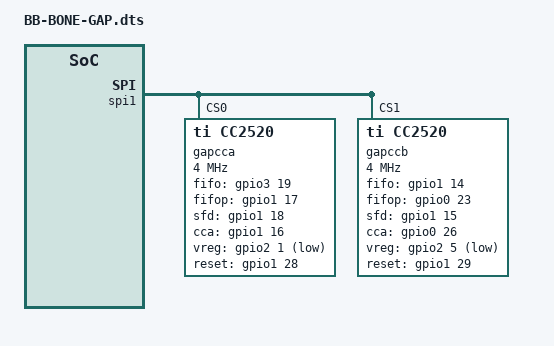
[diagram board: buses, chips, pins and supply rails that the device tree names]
/*
 * Copyright (C) 2015 Neal Jackson, Brad Campbell, LAB11
 *
 * Cape for LAB11 GAP radio platform.
 *
 * This program is free software; you can redistribute it and/or modify
 * it under the terms of the GNU General Public License version 2 as
 * published by the Free Software Foundation.
 */

/dts-v1/;
/plugin/;

/ {
   	compatible = "ti,beaglebone", "ti,beaglebone-black";

        /* identification */
        part-number = "BB-BONE-GAP";
        version = "00A0";

        /* state the resources this cape uses */
        exclusive-use =
                /* the pin header uses */

                /* CC2520 GPIO */
                "P9.14",       /* SFD0:  gpio1_18 */
                "P9.23",       /* FIFP0: gpio1_17 */
                "P9.27",       /* FIFO0: gpio3_19 */
                "P9.12",       /* RST0:  gpio1_28 */
                "P9.15",       /* CCA0:  gpio1_16 */

                "P8.15",       /* SFD1:  gpio1_15 */
                "P8.13",       /* FIFP1: gpio0_23 */
                "P8.16",       /* FIFO1: gpio1_14 */
                "P8.26",       /* RST1:  gpio1_29 */
                "P8.14",       /* CCA1:  gpio0_26 */

                /* NRF51822 GPIO */
                "P9.11",       /* RST2: uart4_rxd */
                "P9.16",       /* BIRQ: gpio1_19  */

                /* UART */
                "P9.24",       /* UART1_TXD: uart1_txd */
                "P9.26",       /* UART1_RXD: uart1_rxd */

                /* SPI0 */
                "P9.17",       /* CS:   spi0_cs0  */
                "P9.18",       /* MOSI: spi0_d1   */
                "P9.21",       /* MISO: spi0_d0   */
                "P9.22",       /* SCLK: spi0_sclk */

                /* SPI1 */
                "P9.31",    /* spi1_sclk */
                "P9.29",    /* spi1_d0 */
                "P9.30",    /* spi1_d1 */
                "P9.28",    /* spi1_cs0 */
                "P9.42",    /* spi1_cs1 */

                /* CHIP SELECT MUX */
                "P8.11",       /* SPIE0: gpio1_13 */
                "P8.12",       /* SPIE1: gpio1_12 */

                /* LEDS */
                "P8.19",       /* LED0: gpio0_22  */
                "P8.17",       /* LED1: gpio0_27  */
                "P8.18",       /* LED2: gpio2_1   */

                /* the hardware it uses */
                "uart2",
                "spi0",
                "spi1";


        fragment@0 {
            target = <&am33xx_pinmux>;
            __overlay__ {
                gap_cc2520_0_pins: pinmux_gap_cc2520_0_pins {
                    pinctrl-single,pins = <
                        0x048 0x2F /* ehrpwm1a.gpio1_18, INPUT         | MODE7 */
                        0x044 0x2F /* gpio1_17.gpio1_17, INPUT         | MODE7 */
                        0x1a4 0x2F /* gpio3_19.gpio3_19, INPUT         | MODE7 */
                        0x078 0x17 /* gpio1_28.gpio1_28, OUTPUT_PULLUP | MODE7 */
                        0x040 0x2F /* gpio1_16.gpio1_16, INPUT         | MODE7 */
                        0x08c 0x17 /* gpio2_1.gpio2_1,   OUTPUT_PULLUP | MODE7 */
                    >;
                };

                gap_cc2520_1_pins: pinmux_gap_cc2520_1_pins {
                    pinctrl-single,pins = <
                        0x03c 0x2F /* P8.15 gpio1_15.gpio1_15, INPUT         | MODE7 */
                        0x024 0x2F /* P8.13 ehrpwm2b.gpio0_23, INPUT         | MODE7 */
                        0x038 0x2F /* P8.16 gpio1_14.gpio1_14, INPUT         | MODE7 */
                        0x07c 0x17 /* P8.26 gpio1_29.gpio1_29, OUTPUT_PULLUP | MODE7 */
                        0x028 0x2F /* P8.14 gpio0_26.gpio0_26, INPUT         | MODE7 */
                        0x09c 0x17 /* P8.09 gpio2_5.gpio2_5,   OUTPUT_PULLUP | MODE7 */
                    >;
                };

                /*gap_leds_pins: pinmux_gap_leds_pins {
                    pinctrl-single,pins = <
                        0x020 0x17  /* ehrpwm2a.gpio0_22, OUTPUT_PULLUP | MODE7 *
                        0x02c 0x17  /* gpio0_27.gpio0_27, OUTPUT_PULLUP | MODE7 *
                    >;
                };

                gap_spi0_pins: pinmux_gap_spi0_pins {
                    pinctrl-single,pins = <
                        0x15c 0x10 /* i2c1_scl.spi0_cs0,   OUTPUT_PULLUP | MODE0 *
                        0x158 0x10 /* i2c1_sda.spi0_d1,    OUTPUT_PULLUP | MODE0 *
                        0x154 0x30 /* uart2_txd.spi0_d0,   INPUT_PULLUP  | MODE0 *
                        0x150 0x30 /* uart2_rxd.spi0_sclk, INPUT_PULLUP  | MODE0 *
                    >;
                };*/

                gap_spi1_pins: pinmux_gap_spi1_pins {
                    pinctrl-single,pins = <
                        0x190 0x33      /* mcasp0_aclkx.spi1_sclk,     INPUT_PULLUP  | MODE3 */
                        0x194 0x33      /* mcasp0_fsx.spi1_d0,         INPUT_PULLUP  | MODE3 */
                        0x198 0x13      /* mcasp0_axr0.spi1_d1,        OUTPUT_PULLUP | MODE3 */
                        0x19c 0x13      /* mcasp0_ahclkr.spi1_cs0,     OUTPUT_PULLUP | MODE3 */
                        0x164 0x12      /* ecap0_in_pwm0_out.spi1_cs1, OUTPUT_PULLUP | MODE2 */
                    >;
                };
                /*bb_gap_nrf51822_pins: pinmux_bb_gap_nrf51822_pins {
                    pinctrl-single,pins = <
                        0x074 0x17 /* P9.11 uart4_rxd.gpio0_30, OUTPUT_PULLUP | MODE 7 *
                        0x04c 0x2F /* P9.16 ehrpwm1b.gpio1_19, INPUT | MODE7 *
                    >;
                };
                bb_gap_uart1_pins: pinmux_bb_gap_uart1_pins {
                    pinctrl-single,pins = <
                        0x184 0x20 /* P9.24 uart1_txd.uart1_txd, OUTPUT | MODE0 *
                        0x180 0x20 /* P9.26 uart1_rxd.uart1_rxd, INPUT | MODE0 *
                    >;
                };*/
            };
        };




		/*fragment@1 {
            target = <&spi0>;
            __overlay__ {
                status = "okay";

                pinctrl-names = "default";
                pinctrl-0 = <&gap_spi0_pins>;
            };
        };*/


        fragment@1 {
            target = <&spi1>;
            __overlay__ {

                #address-cells = <1>;
                #size-cells = <0>;

                status = "okay";

                pinctrl-names = "default";
                pinctrl-0 = <&gap_spi1_pins>;

                gapcca@0 {
                    compatible = "ti,cc2520";

                    reg = <0>;
                    spi-max-frequency = <4000000>;
                    pinctrl-names = "default";
                    pinctrl-0 = <&gap_cc2520_0_pins>;
                    fifo-gpio  = <&gpio3 19 0>;
                    fifop-gpio = <&gpio1 17 0>;
                    sfd-gpio   = <&gpio1 18 0>;
                    cca-gpio   = <&gpio1 16 0>;
                    vreg-gpio  = <&gpio2 1  1>;
                    reset-gpio = <&gpio1 28 0>;
                };

                gapccb@1 {
                    compatible = "ti,cc2520";

                    reg = <1>;
                    spi-max-frequency = <4000000>;
                    amplified;
                    pinctrl-names = "default";
                    pinctrl-0 = <&gap_cc2520_1_pins>;
                    fifo-gpio  = <&gpio1 14 0>;
                    fifop-gpio = <&gpio0 23 0>;
                    sfd-gpio   = <&gpio1 15 0>;
                    cca-gpio   = <&gpio0 26 0>;
                    vreg-gpio  = <&gpio2 5  1>;
                    reset-gpio = <&gpio1 29 0>;
                };
            };
        };









        /*fragment@3 {
                target = <&ocp>;
                __overlay__ {

                        gap-nrf51822@0 {
                            compatible = "lab11,nrf51822";
                            pinctrl-names = "default";
                            pinctrl-0 = <&bb_gap_nrf51822_pins>;

                            num-radios  = <1>;

                            interrupt0-gpio = <&gpio2 19 0>;
                            rst0-gpio = <&gpio1 30 0>;
                            radio0-csmux = <2>;

                            status = "okay";
                        };
                };
        };*/

        /*fragment@4 {
                target = <&uart2>;
                __overlay__ {

                        gap-nrf51822@1 {
                            pinctrl-names = "default";
                            pinctrl-0 = <&bb_gap_uart1_pins>;
                            status = "okay";
                        };
                };
        };*/
        /*fragment@5 {
            target = <&leds>;
            __overlay__ {

                pinctrl-1 = <&gap_leds_pins>;

                led@6 {
                    label = "gap:green:usr4";
                    gpios = <&gpio0 22 1>;
                    linux,default-trigger = "none";
                    default-state = "off";
                };
                led@7 {
                    label = "gap:red:usr5";
                    gpios = <&gpio0 27 1>;
                    linux,default-trigger = "none";
                    default-state = "off";
                };
            };
        };*/
};
